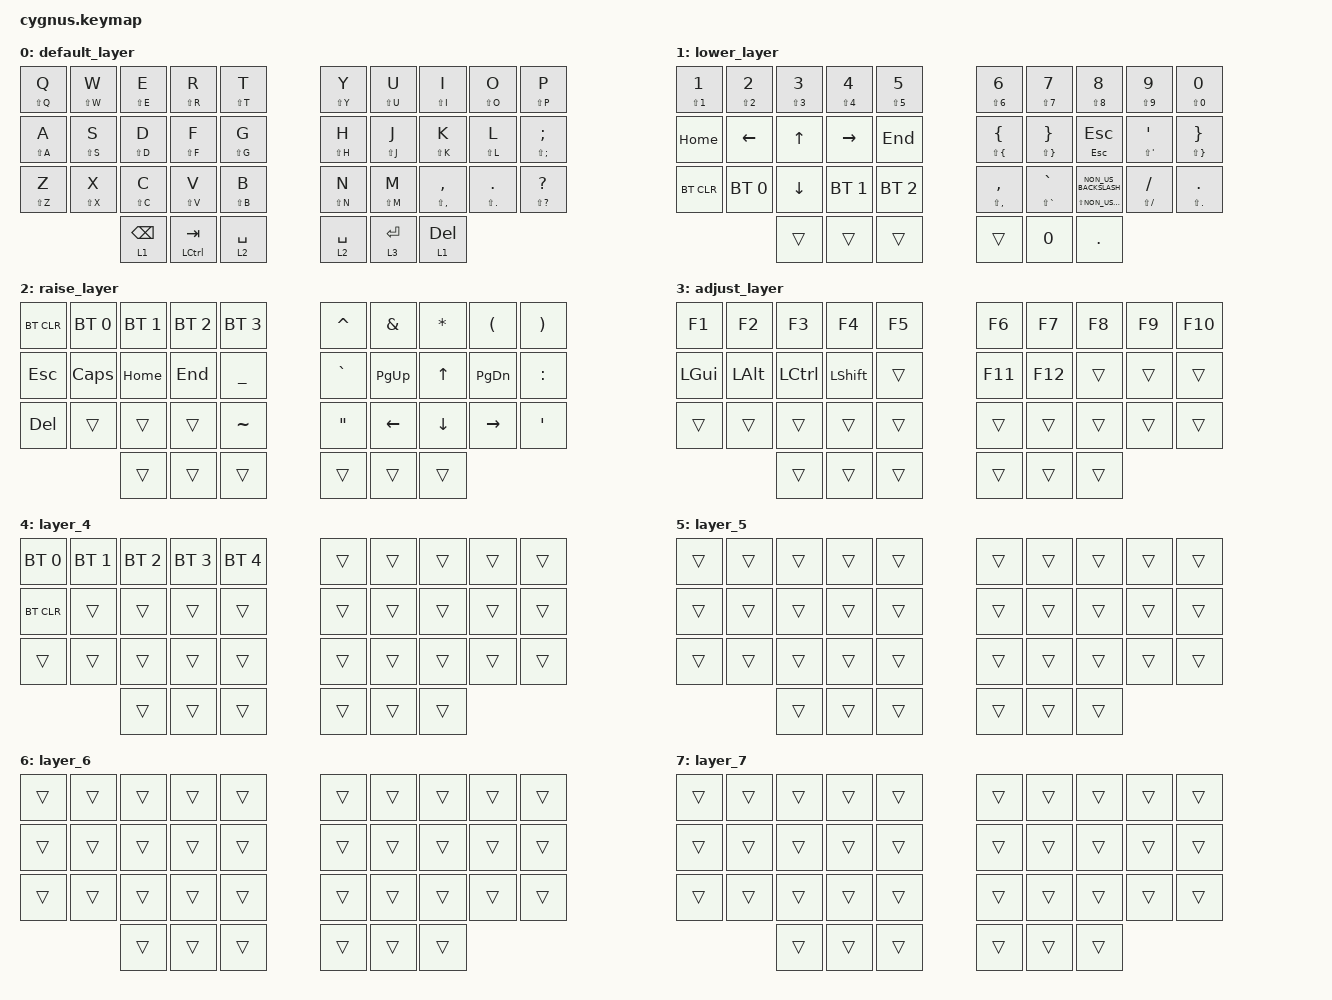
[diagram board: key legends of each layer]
/*
 * Copyright (c) 2020 The ZMK Contributors
 *
 * SPDX-License-Identifier: MIT
 */

#include <behaviors.dtsi>
#include <dt-bindings/zmk/bt.h>
#include <dt-bindings/zmk/keys.h>

&mt {
    tapping-term-ms = <200>;
    flavor = "tap-preferred";
};

&sk {
    release-after-ms = <2000>;
    quick-release;
};

/ {
    combos {
        compatible = "zmk,combos";

        left_bkt {
            bindings = <&kp LBKT>;
            key-positions = <3 2>;
            timeout-ms = <50>;
        };

        right_bkt {
            bindings = <&kp RBKT>;
            key-positions = <6 7>;
            timeout-ms = <50>;
        };

        left_par {
            bindings = <&kp LEFT_PARENTHESIS>;
            key-positions = <12 13>;
            timeout-ms = <50>;
        };

        right_par {
            bindings = <&kp RIGHT_PARENTHESIS>;
            key-positions = <16 17>;
            timeout-ms = <50>;
        };

        left_brace {
            bindings = <&kp LEFT_BRACE>;
            key-positions = <23 22>;
            timeout-ms = <50>;
        };

        right_brace {
            bindings = <&kp RIGHT_BRACE>;
            key-positions = <26 27>;
            timeout-ms = <50>;
        };

        bac {
            bindings = <&kp BACKSLASH>;
            key-positions = <4 5>;
        };

        pipe {
            bindings = <&kp PIPE>;
            key-positions = <14 15>;
        };
    };

    behaviors {
        hm: homerow_mods {
            compatible = "zmk,behavior-hold-tap";
            label = "HOMEROW_MODS";
            #binding-cells = <2>;
            tapping-term-ms = <200>;
            quick_tap_ms = <0>;
            flavor = "tap-preferred";
            bindings = <&kp>, <&kp>;

            quick-tap-ms = <180>;
            global-quick-tap;
        };

        ltq: ltq {
            compatible = "zmk,behavior-hold-tap";
            label = "LTQ";
            #binding-cells = <2>;
            tapping-term-ms = <200>;
            quick_tap_ms = <0>;
            flavor = "hold-preferred";
            bindings = <&mo>, <&kp>;

            quick-tap-ms = <180>;
            global-quick-tap;
        };

        as: as {
            compatible = "zmk,behavior-hold-tap";
            label = "AUTO_SHIFT";
            bindings = <&kp>, <&kp>;

            #binding-cells = <2>;
            tapping-term-ms = <135>;
            quick-tap-ms = <0>;
            flavor = "tap-preferred";
        };
    };

    keymap {
        compatible = "zmk,keymap";

        default_layer {
            bindings = <
&mt LS(Q) Q                    &mt LS(W) W                 &mt LS(E) E               &mt LS(R) R  &mt LS(T) T   &mt LS(Y) Y               &mt LS(U) U  &mt LS(I) I          &mt LS(O) O            &mt LS(P) P
&mt LS(A) A                    &mt LS(S) S                 &mt LS(D) D               &mt LS(F) F  &mt LS(G) G   &mt LS(H) H               &mt LS(J) J  &mt LS(K) K          &mt LS(L) L            &mt LS(SEMICOLON) SEMICOLON
&mt LS(Z) Z                    &mt LS(X) X                 &mt LS(C) C               &mt LS(V) V  &mt LS(B) B   &mt LS(N) N               &mt LS(M) M  &mt LS(COMMA) COMMA  &mt LS(PERIOD) PERIOD  &mt LS(QUESTION) QUESTION
             &ltq 1 BACKSPACE               &mt LCTRL TAB               &lt 2 SPACE               &ltq 2 SPACE  &ltq 3 ENTER  &ltq 1 DEL
            >;
        };

        lower_layer {
            bindings = <
&mt LS(N1) N1          &mt LS(N2) N2          &mt LS(N3) N3          &mt LS(N4) N4  &mt LS(N5) N5  &mt LS(N6) N6                           &mt LS(N7) N7                    &mt LS(N8) N8                              &mt LS(N9) N9      &mt LS(N0) N0
&kp HOME               &kp LEFT               &kp UP_ARROW           &kp RIGHT      &kp END        &mt LS(LEFT_BRACE) LEFT_BRACE           &mt LS(RIGHT_BRACE) RIGHT_BRACE  &mt ESC ESC                                &mt LS(SQT) SQT    &mt LS(RBRC) RBRC
&bt BT_CLR             &bt BT_SEL 0           &kp DOWN               &bt BT_SEL 1   &bt BT_SEL 2   &mt LS(COMMA) COMMA                     &mt LS(GRAVE) GRAVE              &mt LS(NON_US_BACKSLASH) NON_US_BACKSLASH  &mt LS(FSLH) FSLH  &mt LS(PERIOD) PERIOD
               &trans                 &trans                 &trans                 &trans         &kp N0                         &kp DOT
            >;
        };

        raise_layer {
            bindings = <
&bt BT_CLR          &bt BT_SEL 0          &bt BT_SEL 1          &bt BT_SEL 2  &bt BT_SEL 3  &kp CARET                  &kp AMPERSAND  &kp STAR      &kp LEFT_PARENTHESIS  &kp RIGHT_PARENTHESIS
&kp ESCAPE          &kp CAPSLOCK          &kp HOME              &kp END       &kp UNDER     &kp GRAVE                  &kp PAGE_UP    &kp UP_ARROW  &kp PAGE_DOWN         &kp COLON
&kp DEL             &trans                &trans                &trans        &kp TILDE     &kp DOUBLE_QUOTES          &kp LEFT       &kp DOWN      &kp RIGHT             &kp SINGLE_QUOTE
            &trans                &trans                &trans                &trans        &trans             &trans
            >;
        };

        adjust_layer {
            bindings = <
&kp F1                &kp F2                &kp F3             &kp F4          &kp F5  &kp F6           &kp F7   &kp F8  &kp F9  &kp F10
&kp LEFT_GUI          &kp LEFT_ALT          &kp LCTRL          &kp LEFT_SHIFT  &trans  &kp F11          &kp F12  &trans  &trans  &trans
&trans                &trans                &trans             &trans          &trans  &trans           &trans   &trans  &trans  &trans
              &trans                &trans             &trans                  &trans  &trans   &trans
            >;
        };

        layer_4 {
            bindings = <
&bt BT_SEL 0          &bt BT_SEL 1          &bt BT_SEL 2          &bt BT_SEL 3  &bt BT_SEL 4  &trans          &trans  &trans  &trans  &trans
&bt BT_CLR            &trans                &trans                &trans        &trans        &trans          &trans  &trans  &trans  &trans
&trans                &trans                &trans                &trans        &trans        &trans          &trans  &trans  &trans  &trans
              &trans                &trans                &trans                &trans        &trans  &trans
            >;
        };

        layer_5 {
            bindings = <
&trans          &trans          &trans          &trans  &trans  &trans          &trans  &trans  &trans  &trans
&trans          &trans          &trans          &trans  &trans  &trans          &trans  &trans  &trans  &trans
&trans          &trans          &trans          &trans  &trans  &trans          &trans  &trans  &trans  &trans
        &trans          &trans          &trans          &trans  &trans  &trans
            >;
        };

        layer_6 {
            bindings = <
&trans          &trans          &trans          &trans  &trans  &trans          &trans  &trans  &trans  &trans
&trans          &trans          &trans          &trans  &trans  &trans          &trans  &trans  &trans  &trans
&trans          &trans          &trans          &trans  &trans  &trans          &trans  &trans  &trans  &trans
        &trans          &trans          &trans          &trans  &trans  &trans
            >;
        };

        layer_7 {
            bindings = <
&trans          &trans          &trans          &trans  &trans  &trans          &trans  &trans  &trans  &trans
&trans          &trans          &trans          &trans  &trans  &trans          &trans  &trans  &trans  &trans
&trans          &trans          &trans          &trans  &trans  &trans          &trans  &trans  &trans  &trans
        &trans          &trans          &trans          &trans  &trans  &trans
            >;
        };
    };
};
